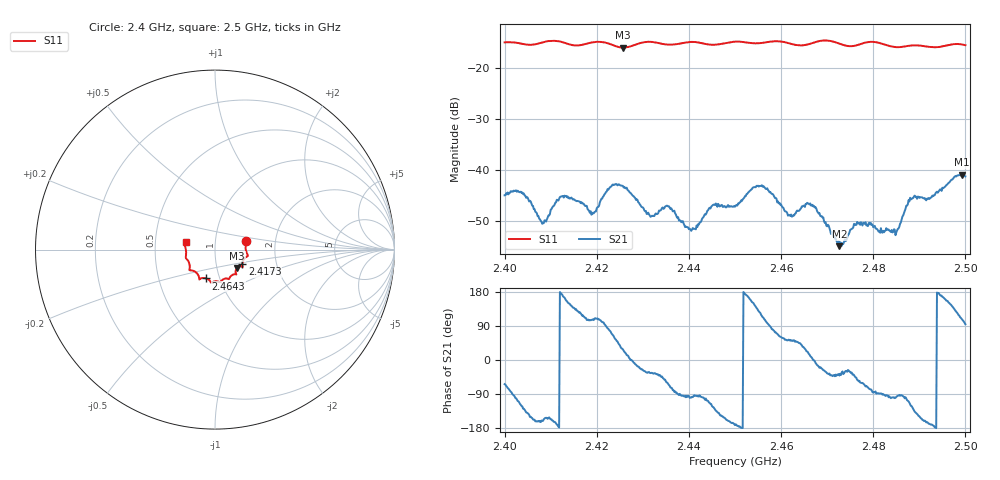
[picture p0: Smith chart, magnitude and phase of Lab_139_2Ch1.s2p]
# Hz S RI R
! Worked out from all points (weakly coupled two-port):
!   601 points, 2.4 GHz to 2.5 GHz, reference 50 ohm
!   highest |S21| = -40.89 dB at 2.4992 GHz (marker M1); lowest = -54.9 dB at 2.4727 GHz (marker M2)
!   lowest |S11| = -15.9 dB at 2.4257 GHz (marker M3), VSWR 1.38, Z = 62.5 - j13.1 ohm
!   |S11| at or under -10 dB: start of sweep to end of sweep
!   S12 and S22 are empty: the file has one direction only
!   S11 on the Smith chart (normalised r, x): 2.4 GHz: 1.41, +0.14; 2.4173 GHz: 1.34, -0.23; 2.4643 GHz: 0.86, -0.28; 2.5 GHz: 0.72, +0.06
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2.4e9  0.1731 0.0494  0.00251 -0.00507  0 0  0 0
2.404e9  0.1721 0.0252  -0.00361 -0.00457  0 0  0 0
2.4085e9  0.18 -0.0248  -0.00277 -0.0012  0 0  0 0
2.4125e9  0.1771 -0.0385  -0.0055 0.000731  0 0  0 0
2.416667e9  0.1528 -0.0744  -0.00246 0.00418  0 0  0 0
2.417333e9  0.1523 -0.0817  -0.0018 0.00416  0 0  0 0
2.419333e9  0.1536 -0.0958  -0.000996 0.00363  0 0  0 0
2.425667e9  0.1229 -0.1023  0.00619 0.00328  0 0  0 0
2.433333e9  0.1131 -0.1371  0.00296 -0.00233  0 0  0 0
2.441e9  0.0778 -0.1645  -0.000236 -0.00265  0 0  0 0
2.445333e9  0.0533 -0.1623  -0.00261 -0.00376  0 0  0 0
2.45e9  0.0293 -0.1808  -0.00433 -0.000617  0 0  0 0
2.455333e9  -0.000999 -0.177  -0.00412 0.00563  0 0  0 0
2.462e9  -0.0295 -0.1727  0.00214 0.00283  0 0  0 0
2.464333e9  -0.05 -0.1607  0.00318 0.00276  0 0  0 0
2.466667e9  -0.0759 -0.1596  0.00445 0.000482  0 0  0 0
2.472667e9  -0.0896 -0.1502  0.00135 -0.00117  0 0  0 0
2.476333e9  -0.1199 -0.1182  0.00198 -0.00211  0 0  0 0
2.483333e9  -0.1406 -0.0899  -0.000372 -0.00258  0 0  0 0
2.4885e9  -0.1614 -0.0483  -0.00306 -0.00432  0 0  0 0
2.499167e9  -0.1681 0.0378  -0.00292 0.00854  0 0  0 0
2.5e9  -0.1636 0.0426  -0.000661 0.00865  0 0  0 0
